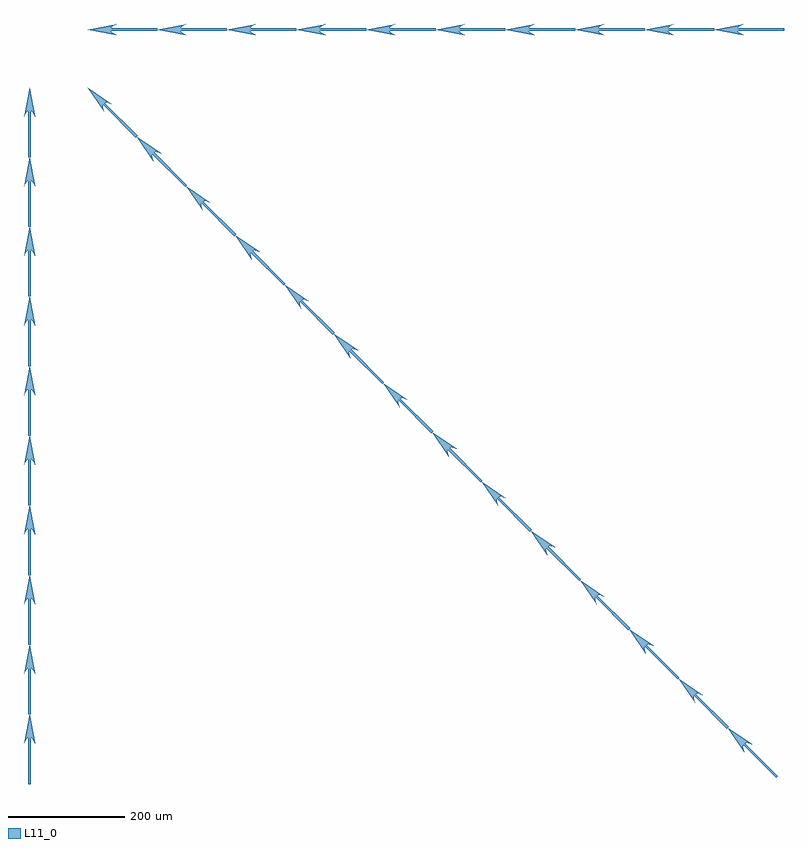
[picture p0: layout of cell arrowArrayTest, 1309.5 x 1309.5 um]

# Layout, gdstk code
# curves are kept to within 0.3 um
import gdstk
lib = gdstk.Library(unit=1e-6, precision=1e-09)
def P(c, l, *ps):  # polygons
    for p in ps: c.add(gdstk.Polygon(p, *l))
L11_0 = (11, 0)

arrowarraytest = lib.new_cell('arrowArrayTest')
P(arrowarraytest, L11_0, [(-2,-1300),(-2,-1220),(-3.743,-1220.656),(-5.559,-1222.523),(-9.5,-1230),(0,-1180),(9.5,-1230),(5.559,-1222.523),(3.743,-1220.656),(2,-1220),(2,-1300)],
  [(-2,-1180),(-2,-1100),(-3.743,-1100.656),(-5.559,-1102.523),(-9.5,-1110),(0,-1060),(9.5,-1110),(5.559,-1102.523),(3.743,-1100.656),(2,-1100),(2,-1180)],
  [(-2,-1060),(-2,-980),(-3.743,-980.656),(-5.559,-982.523),(-9.5,-990),(0,-940),(9.5,-990),(5.559,-982.523),(3.743,-980.656),(2,-980),(2,-1060)],
  [(-2,-940),(-2,-860),(-3.743,-860.656),(-5.559,-862.523),(-9.5,-870),(0,-820),(9.5,-870),(5.559,-862.523),(3.743,-860.656),(2,-860),(2,-940)],
  [(-2,-820),(-2,-740),(-3.743,-740.656),(-5.559,-742.523),(-9.5,-750),(0,-700),(9.5,-750),(5.559,-742.523),(3.743,-740.656),(2,-740),(2,-820)],
  [(-2,-700),(-2,-620),(-3.743,-620.656),(-5.559,-622.523),(-9.5,-630),(0,-580),(9.5,-630),(5.559,-622.523),(3.743,-620.656),(2,-620),(2,-700)],
  [(-2,-580),(-2,-500),(-3.743,-500.656),(-5.559,-502.523),(-9.5,-510),(0,-460),(9.5,-510),(5.559,-502.523),(3.743,-500.656),(2,-500),(2,-580)],
  [(-2,-460),(-2,-380),(-3.743,-380.656),(-5.559,-382.523),(-9.5,-390),(0,-340),(9.5,-390),(5.559,-382.523),(3.743,-380.656),(2,-380),(2,-460)],
  [(-2,-340),(-2,-260),(-3.743,-260.656),(-5.559,-262.523),(-9.5,-270),(0,-220),(9.5,-270),(5.559,-262.523),(3.743,-260.656),(2,-260),(2,-340)],
  [(-2,-220),(-2,-140),(-3.743,-140.656),(-5.559,-142.523),(-9.5,-150),(0,-100),(9.5,-150),(5.559,-142.523),(3.743,-140.656),(2,-140),(2,-220)],
  [(1286.525,-1289.354),(1229.957,-1232.785),(1229.188,-1234.482),(1229.224,-1237.085),(1231.724,-1245.159),(1203.087,-1203.087),(1245.159,-1231.724),(1237.264,-1229.25),(1234.514,-1229.183),(1232.785,-1229.957),(1289.354,-1286.525)],
  [(1201.672,-1204.501),(1145.104,-1147.932),(1144.335,-1149.629),(1144.372,-1152.232),(1146.872,-1160.307),(1118.234,-1118.234),(1160.307,-1146.872),(1152.411,-1144.397),(1149.661,-1144.33),(1147.932,-1145.104),(1204.501,-1201.672)],
  [(1116.82,-1119.648),(1060.251,-1063.079),(1059.482,-1064.776),(1059.519,-1067.38),(1062.019,-1075.454),(1033.381,-1033.381),(1075.454,-1062.019),(1067.559,-1059.544),(1064.808,-1059.477),(1063.079,-1060.251),(1119.648,-1116.82)],
  [(1031.967,-1034.795),(975.398,-978.227),(974.629,-979.923),(974.666,-982.527),(977.166,-990.601),(948.528,-948.528),(990.601,-977.166),(982.706,-974.691),(979.956,-974.624),(978.227,-975.398),(1034.795,-1031.967)],
  [(947.114,-949.942),(890.545,-893.374),(889.794,-894.967),(889.813,-897.674),(892.313,-905.748),(863.675,-863.675),(905.748,-892.313),(897.655,-889.81),(895.007,-889.787),(893.374,-890.545),(949.942,-947.114)],
  [(862.261,-865.09),(805.693,-808.521),(804.924,-810.218),(804.96,-812.821),(807.46,-820.895),(778.823,-778.823),(820.895,-807.46),(813,-804.986),(810.154,-804.934),(808.521,-805.693),(865.09,-862.261)],
  [(777.408,-780.237),(720.84,-723.668),(720.071,-725.365),(720.107,-727.968),(722.608,-736.043),(693.97,-693.97),(736.043,-722.608),(728.147,-720.133),(725.397,-720.066),(723.668,-720.84),(780.237,-777.408)],
  [(692.555,-695.384),(635.987,-638.815),(635.218,-640.512),(635.255,-643.116),(637.755,-651.19),(609.117,-609.117),(651.19,-637.755),(643.295,-635.28),(640.544,-635.213),(638.815,-635.987),(695.384,-692.555)],
  [(607.703,-610.531),(551.134,-553.963),(550.365,-555.659),(550.402,-558.263),(552.902,-566.337),(524.264,-524.264),(566.337,-552.902),(558.442,-550.427),(555.692,-550.36),(553.963,-551.134),(610.531,-607.703)],
  [(522.85,-525.678),(466.281,-469.11),(465.512,-470.806),(465.549,-473.41),(468.049,-481.484),(439.411,-439.411),(481.484,-468.049),(473.391,-465.546),(470.743,-465.523),(469.11,-466.281),(525.678,-522.85)],
  [(437.997,-440.825),(381.428,-384.257),(380.66,-385.954),(380.696,-388.557),(383.196,-396.631),(354.558,-354.558),(396.631,-383.196),(388.736,-380.722),(385.986,-380.654),(384.257,-381.428),(440.825,-437.997)],
  [(353.144,-355.973),(296.576,-299.404),(295.807,-301.101),(295.843,-303.705),(298.343,-311.778),(269.706,-269.706),(311.778,-298.343),(303.883,-295.869),(301.133,-295.802),(299.404,-296.576),(355.973,-353.144)],
  [(268.291,-271.12),(211.723,-214.551),(210.954,-216.248),(210.991,-218.852),(213.491,-226.926),(184.853,-184.853),(226.926,-213.491),(219.031,-211.016),(216.28,-210.949),(214.551,-211.723),(271.12,-268.291)],
  [(183.439,-186.267),(126.87,-129.698),(126.101,-131.395),(126.138,-133.999),(128.638,-142.073),(100,-100),(142.073,-128.638),(134.178,-126.163),(131.427,-126.096),(129.698,-126.87),(186.267,-183.439)],
  [(630,-9.5),(580,0),(630,9.5),(622.523,5.559),(620.656,3.743),(620,2),(700,2),(700,-2),(620,-2),(620.656,-3.743),(622.523,-5.559)],
  [(750,-9.5),(700,0),(750,9.5),(742.523,5.559),(740.656,3.743),(740,2),(820,2),(820,-2),(740,-2),(740.656,-3.743),(742.523,-5.559)],
  [(870,-9.5),(820,0),(870,9.5),(862.523,5.559),(860.656,3.743),(860,2),(940,2),(940,-2),(860,-2),(860.656,-3.743),(862.523,-5.559)],
  [(990,-9.5),(940,0),(990,9.5),(982.523,5.559),(980.656,3.743),(980,2),(1060,2),(1060,-2),(980,-2),(980.656,-3.743),(982.523,-5.559)],
  [(1110,-9.5),(1060,0),(1110,9.5),(1102.523,5.559),(1100.656,3.743),(1100,2),(1180,2),(1180,-2),(1100,-2),(1100.656,-3.743),(1102.523,-5.559)],
  [(1230,-9.5),(1180,0),(1230,9.5),(1222.523,5.559),(1220.656,3.743),(1220,2),(1300,2),(1300,-2),(1220,-2),(1220.656,-3.743),(1222.523,-5.559)],
  [(150,-9.5),(100,0),(150,9.5),(142.523,5.559),(140.656,3.743),(140,2),(220,2),(220,-2),(140,-2),(140.656,-3.743),(142.523,-5.559)],
  [(270,-9.5),(220,0),(270,9.5),(262.523,5.559),(260.656,3.743),(260,2),(340,2),(340,-2),(260,-2),(260.656,-3.743),(262.523,-5.559)],
  [(390,-9.5),(340,0),(390,9.5),(382.523,5.559),(380.656,3.743),(380,2),(460,2),(460,-2),(380,-2),(380.656,-3.743),(382.523,-5.559)],
  [(510,-9.5),(460,0),(510,9.5),(502.523,5.559),(500.656,3.743),(500,2),(580,2),(580,-2),(500,-2),(500.656,-3.743),(502.523,-5.559)])

lib.write_gds('arrowArrayTest.gds')
